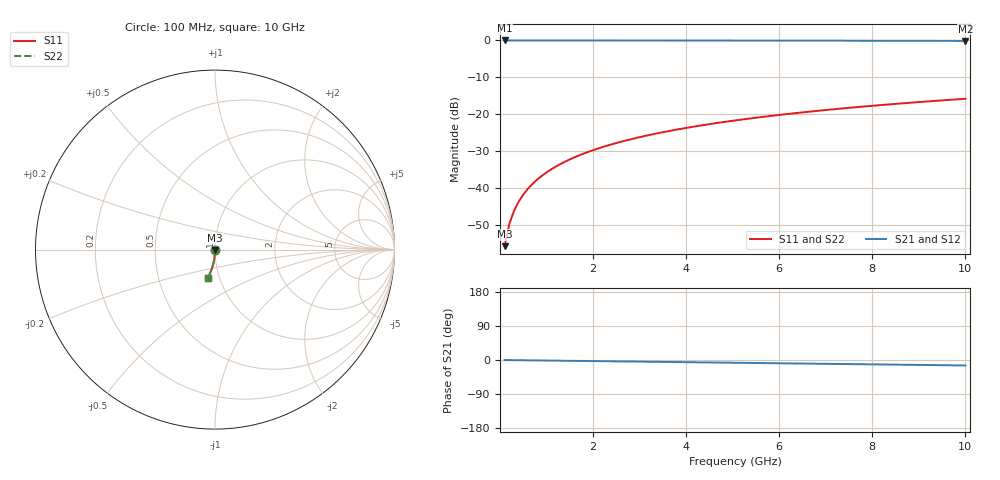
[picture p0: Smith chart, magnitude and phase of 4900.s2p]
# Hz S RI R 50.00
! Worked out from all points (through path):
!   100 points, 100 MHz to 10 GHz, reference 50 ohm
!   highest |S21| = 0.00 dB at 100 MHz (marker M1); lowest = -0.1 dB at 10 GHz (marker M2)
!   group delay of S21, straight-line fit = 4.01 ps
!   lowest |S11| = -55.7 dB at 100 MHz (marker M3), VSWR 1.00, Z = 50 - j0.163 ohm
!   |S11| at or under -10 dB: start of sweep to end of sweep
!   |S22| runs from -55.7 to -15.8 dB; largest |S21 - S12| = 0
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1e8  0.000123 -0.00163  0.9999 -0.0025  0.9999 -0.0025  0.000123 -0.00163
2e8  0.00011 -0.00326  0.9998 -0.005  0.9998 -0.005  0.00011 -0.00326
3e8  8.8e-05 -0.00489  0.9998 -0.0075  0.9998 -0.0075  8.8e-05 -0.00489
4e8  5.81e-05 -0.00652  0.9998 -0.01  0.9998 -0.01  5.81e-05 -0.00652
5e8  1.99e-05 -0.00815  0.9997 -0.0125  0.9997 -0.0125  1.99e-05 -0.00815
6e8  -2.65e-05 -0.00977  0.9997 -0.015  0.9997 -0.015  -2.65e-05 -0.00977
7e8  -8.11e-05 -0.0114  0.9996 -0.0175  0.9996 -0.0175  -8.11e-05 -0.0114
8e8  -0.000144 -0.013  0.9996 -0.02  0.9996 -0.02  -0.000144 -0.013
9e8  -0.000215 -0.0147  0.9995 -0.0225  0.9995 -0.0225  -0.000215 -0.0147
1.1e9  -0.000381 -0.0179  0.9993 -0.0275  0.9993 -0.0275  -0.000381 -0.0179
1.4e9  -0.000692 -0.0228  0.999 -0.035  0.999 -0.035  -0.000692 -0.0228
1.8e9  -0.00122 -0.0293  0.9984 -0.045  0.9984 -0.045  -0.00122 -0.0293
2.1e9  -0.00171 -0.0342  0.9979 -0.0525  0.9979 -0.0525  -0.00171 -0.0342
2.5e9  -0.00246 -0.0407  0.997 -0.0625  0.997 -0.0625  -0.00246 -0.0407
2.9e9  -0.00335 -0.0472  0.996 -0.0725  0.996 -0.0725  -0.00335 -0.0472
3.4e9  -0.00465 -0.0553  0.9946 -0.085  0.9946 -0.085  -0.00465 -0.0553
4.2e9  -0.00715 -0.0682  0.9919 -0.1049  0.9919 -0.1049  -0.00715 -0.0682
5.1e9  -0.0106 -0.0826  0.9881 -0.1272  0.9881 -0.1272  -0.0106 -0.0826
5.9e9  -0.0142 -0.0952  0.9842 -0.1469  0.9842 -0.1469  -0.0142 -0.0952
6.7e9  -0.0183 -0.1077  0.9797 -0.1665  0.9797 -0.1665  -0.0183 -0.1077
8.4e9  -0.0287 -0.1336  0.9683 -0.2076  0.9683 -0.2076  -0.0287 -0.1336
1e10  -0.0404 -0.157  0.9554 -0.2454  0.9554 -0.2454  -0.0404 -0.157
